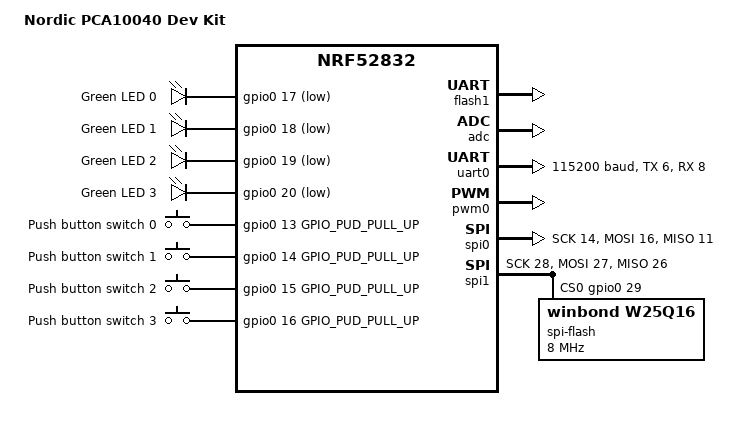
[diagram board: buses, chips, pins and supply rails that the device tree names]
/*
 * Copyright (c) 2017 Shawn Nock <shawn@monadnock.ca>
 * Copyright (c) 2017 Linaro Limited
 *
 * SPDX-License-Identifier: Apache-2.0
 */

/dts-v1/;
#include <nordic/nrf52832_qfaa.dtsi>

/ {
	model = "Nordic PCA10040 Dev Kit";
	compatible = "nordic,pca10040-dk", "nordic,nrf52832-qfaa",
		     "nordic,nrf52832";

	chosen {
		zephyr,console = &uart0;
		zephyr,shell-uart = &uart0;
		zephyr,uart-mcumgr = &uart0;
		zephyr,bt-mon-uart = &uart0;
		zephyr,sram = &sram0;
		zephyr,flash = &flash0;
		zephyr,flash_map = &flash0, &flash1;
		zephyr,code-partition = &slot0_partition;
	};

	leds {
		compatible = "gpio-leds";
		led0: led_0 {
			gpios = <&gpio0 17 GPIO_INT_ACTIVE_LOW>;
			label = "Green LED 0";
		};
		led1: led_1 {
			gpios = <&gpio0 18 GPIO_INT_ACTIVE_LOW>;
			label = "Green LED 1";
		};
		led2: led_2 {
			gpios = <&gpio0 19 GPIO_INT_ACTIVE_LOW>;
			label = "Green LED 2";
		};
		led3: led_3 {
			gpios = <&gpio0 20 GPIO_INT_ACTIVE_LOW>;
			label = "Green LED 3";
		};
	};

	buttons {
		compatible = "gpio-keys";
		button0: button_0 {
			gpios = <&gpio0 13 GPIO_PUD_PULL_UP>;
			label = "Push button switch 0";
		};
		button1: button_1 {
			gpios = <&gpio0 14 GPIO_PUD_PULL_UP>;
			label = "Push button switch 1";
		};
		button2: button_2 {
			gpios = <&gpio0 15 GPIO_PUD_PULL_UP>;
			label = "Push button switch 2";
		};
		button3: button_3 {
			gpios = <&gpio0 16 GPIO_PUD_PULL_UP>;
			label = "Push button switch 3";
		};
	};

	/* These aliases are provided for compatibility with samples */
	aliases {
		led0 = &led0;
		led1 = &led1;
		led2 = &led2;
		led3 = &led3;
		sw0 = &button0;
		sw1 = &button1;
		sw2 = &button2;
		sw3 = &button3;
	};

	flash1: serial-flash@0 {
		compatible = "serial-flash";
		reg = <0 0x00020000>;
		label = "FLASH_1";

		partitions {
			compatible = "fixed-partitions";
			#address-cells = <1>;
			#size-cells = <1>;

			storage_partition: partition@0 {
				label = "storage";
				reg = <0x00000000 0x0000C000>;
			};
		};
	};
};

&adc {
	status ="ok";
};

&gpiote {
	status ="ok";
};

&gpio0 {
	status ="ok";
};

&uart0 {
	status = "ok";
	compatible = "nordic,nrf-uart";
	current-speed = <115200>;
	tx-pin = <6>;
	rx-pin = <8>;
	rts-pin = <5>;
	cts-pin = <7>;
};

&i2c0 {
	status = "disabled";
};

&i2c1 {
	status = "disabled";
};

&pwm0 {
	status = "ok";
	ch0-pin = <17>;
	ch0-inverted;
};

&spi0 {
	status = "ok";
	cs-gpios = <&gpio0 31 0>;
	sck-pin = <14>;
	mosi-pin = <16>;
	miso-pin = <11>;
};

&spi1 {
	status = "ok";
	cs-gpios = <&gpio0 29 0>;
	sck-pin = <28>;
	mosi-pin = <27>;
	miso-pin = <26>;

	spi-flash@0 {
		#address-cells = <1>;
		#size-cells = <1>;
		compatible = "winbond,w25q16", "jedec,spi-nor";
		reg = <0>;
		spi-max-frequency = <8000000>;
		status = "ok";
	};
};

&spi2 {
	status = "disabled";
};

&flash0 {
	/*
	 * For more information, see:
	 * http://docs.zephyrproject.org/latest/guides/dts/index.html#flash-partitions
	 */
	partitions {
		compatible = "fixed-partitions";
		#address-cells = <1>;
		#size-cells = <1>;

		boot_partition: partition@0 {
			label = "mcuboot";
			reg = <0x00000000 0xC000>;
		};
		slot0_partition: partition@C000 {
			label = "image-0";
			reg = <0x0000C000 0x00032000>;
		};
		slot1_partition: partition@3e000 {
			label = "image-1";
			reg = <0x0003E000 0x32000>;
		};
		scratch_partition: partition@70000 {
			label = "image-scratch";
			reg = <0x00070000 0xa000>;
		};
	};
};
